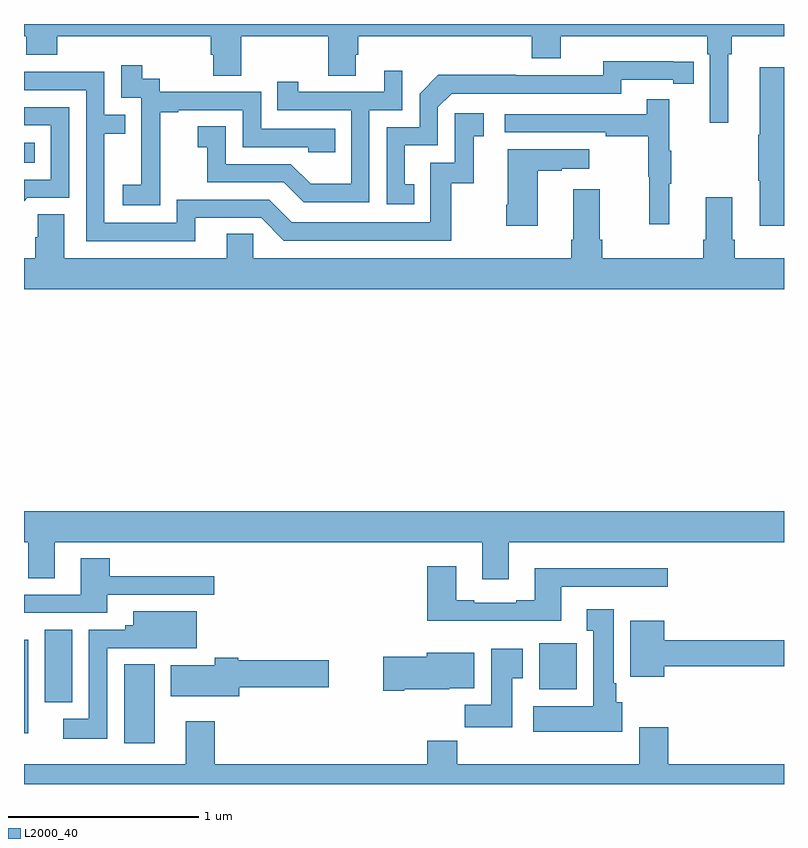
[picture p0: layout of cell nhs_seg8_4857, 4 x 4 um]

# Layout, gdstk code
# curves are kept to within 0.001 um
import gdstk
lib = gdstk.Library(unit=1e-6, precision=1e-09)
def R(c, l, rs):  # rectangles x0, y0, x1, y1
    for r in rs: c.add(gdstk.rectangle(r[:2], r[2:], *l))
def P(c, l, *ps):  # polygons
    for p in ps: c.add(gdstk.Polygon(p, *l))
L2000_40 = (2000, 40)

nhs_seg8_4857 = lib.new_cell('nhs_seg8_4857')
R(nhs_seg8_4857, L2000_40, [(405.527,1110.114,405.688,1110.529), (405,1110.168,405.022,1110.658), (405.11,1110.329,405.253,1110.712), (407.711,1110.398,407.908,1110.64), (405,1113.17,405.056,1113.274)])
P(nhs_seg8_4857, L2000_40, [(405,1113.836),(405.011,1113.836),(405.011,1113.737),(405.176,1113.737),(405.176,1113.836),(405.983,1113.836),(405.983,1113.738),(405.995,1113.738),(405.995,1113.628),(406.143,1113.628),(406.143,1113.836),(406.6,1113.836),(406.6,1113.628),(406.747,1113.628),(406.747,1113.738),(406.76,1113.738),(406.76,1113.836),(407.672,1113.836),(407.672,1113.719),(407.824,1113.719),(407.824,1113.836),(408.596,1113.836),(408.596,1113.74),(408.609,1113.74),(408.609,1113.381),(408.706,1113.381),(408.706,1113.74),(408.725,1113.74),(408.725,1113.836),(409,1113.836),(409,1113.9),(405,1113.9)],
  [(407.054,1113.057),(407.005,1113.057),(407.005,1113.261),(407.178,1113.261),(407.178,1113.462),(407.25,1113.534),(408.144,1113.534),(408.144,1113.606),(408.416,1113.606),(408.416,1113.586),(408.524,1113.586),(408.524,1113.702),(408.048,1113.703),(408.048,1113.63),(407.588,1113.63),(407.588,1113.632),(407.18,1113.632),(407.082,1113.534),(407.082,1113.357),(406.908,1113.357),(406.908,1112.952),(407.054,1112.952)],
  [(405.717,1113.151),(405.716,1113.151),(405.716,1113.435),(405.811,1113.435),(405.811,1113.447),(406.152,1113.447),(406.152,1113.252),(406.497,1113.252),(406.497,1113.225),(406.637,1113.225),(406.637,1113.348),(406.248,1113.348),(406.248,1113.543),(405.714,1113.543),(405.714,1113.612),(405.622,1113.612),(405.622,1113.682),(405.513,1113.682),(405.513,1113.513),(405.618,1113.513),(405.618,1113.284),(405.617,1113.284),(405.617,1113.055),(405.519,1113.055),(405.519,1112.945),(405.717,1112.945)],
  [(409,1113.673),(408.872,1113.673),(408.872,1113.317),(408.865,1113.317),(408.865,1113.076),(408.872,1113.076),(408.872,1112.838),(409,1112.838)],
  [(406.818,1113.447),(406.992,1113.447),(406.992,1113.655),(406.895,1113.655),(406.895,1113.543),(406.444,1113.543),(406.444,1113.595),(406.333,1113.595),(406.333,1113.447),(406.722,1113.447),(406.722,1113.058),(406.508,1113.058),(406.404,1113.162),(406.062,1113.162),(406.062,1113.361),(405.915,1113.361),(405.915,1113.251),(405.964,1113.251),(405.964,1113.066),(406.367,1113.066),(406.472,1112.961),(406.818,1112.961)],
  [(405.901,1112.88),(406.248,1112.88),(406.368,1112.76),(407.248,1112.76),(407.248,1113.063),(407.366,1113.063),(407.366,1113.309),(407.419,1113.309),(407.419,1113.43),(407.268,1113.43),(407.268,1113.171),(407.139,1113.171),(407.139,1112.856),(406.41,1112.856),(406.29,1112.976),(405.804,1112.976),(405.804,1112.853),(405.423,1112.853),(405.423,1113.322),(405.533,1113.322),(405.533,1113.423),(405.423,1113.423),(405.423,1113.648),(405,1113.648),(405,1113.552),(405.327,1113.552),(405.327,1112.757),(405.901,1112.757)],
  [(408.395,1113.059),(408.406,1113.059),(408.406,1113.233),(408.395,1113.233),(408.395,1113.505),(408.277,1113.505),(408.277,1113.426),(407.529,1113.426),(407.529,1113.33),(408.061,1113.33),(408.061,1113.31),(408.285,1113.31),(408.285,1113.096),(408.292,1113.096),(408.292,1112.847),(408.395,1112.847)],
  [(405.018,1112.985),(405.237,1112.985),(405.237,1113.462),(405,1113.462),(405,1113.366),(405.141,1113.366),(405.141,1113.081),(405,1113.081),(405,1112.967)],
  [(407.704,1113.127),(407.831,1113.127),(407.831,1113.137),(407.974,1113.137),(407.974,1113.241),(407.546,1113.241),(407.546,1112.95),(407.539,1112.95),(407.539,1112.838),(407.704,1112.838)],
  [(408.587,1112.989),(408.587,1112.764),(408.575,1112.764),(408.575,1112.668),(408.044,1112.668),(408.044,1112.764),(408.031,1112.764),(408.031,1113.031),(407.891,1113.031),(407.891,1112.764),(407.879,1112.764),(407.879,1112.668),(406.206,1112.668),(406.206,1112.795),(406.067,1112.795),(406.067,1112.668),(405.211,1112.668),(405.211,1112.9),(405.072,1112.9),(405.072,1112.777),(405.059,1112.777),(405.059,1112.668),(405,1112.668),(405,1112.504),(409,1112.504),(409,1112.668),(408.74,1112.668),(408.74,1112.764),(408.727,1112.764),(408.727,1112.989)],
  [(407.551,1111.172),(409,1111.172),(409,1111.336),(405,1111.336),(405,1111.172),(405.023,1111.172),(405.023,1110.982),(405.163,1110.982),(405.163,1111.172),(407.411,1111.172),(407.411,1110.978),(407.551,1110.978)],
  [(405.439,1110.897),(406,1110.897),(406,1110.994),(405.452,1110.994),(405.452,1111.087),(405.299,1111.087),(405.299,1110.897),(405,1110.897),(405,1110.801),(405.439,1110.801)],
  [(407.827,1110.939),(408.388,1110.939),(408.388,1111.036),(407.687,1111.036),(407.687,1110.868),(407.591,1110.868),(407.591,1110.855),(407.371,1110.855),(407.371,1110.868),(407.275,1110.868),(407.275,1111.045),(407.123,1111.045),(407.123,1110.758),(407.827,1110.758)],
  [(408.148,1110.33),(408.118,1110.33),(408.118,1110.43),(408.103,1110.43),(408.103,1110.82),(407.963,1110.82),(407.963,1110.707),(407.996,1110.707),(407.996,1110.31),(407.679,1110.31),(407.679,1110.176),(408.148,1110.176)],
  [(405.438,1110.615),(405.684,1110.615),(405.684,1110.614),(405.91,1110.614),(405.91,1110.808),(405.575,1110.808),(405.575,1110.736),(405.534,1110.736),(405.534,1110.711),(405.342,1110.711),(405.342,1110.244),(405.207,1110.244),(405.207,1110.137),(405.438,1110.137)],
  [(408.37,1110.52),(409,1110.52),(409,1110.656),(408.37,1110.656),(408.37,1110.76),(408.191,1110.76),(408.191,1110.464),(408.37,1110.464)],
  [(407.569,1110.457),(407.626,1110.457),(407.626,1110.613),(407.459,1110.613),(407.459,1110.316),(407.32,1110.316),(407.32,1110.198),(407.569,1110.198)],
  [(407.002,1110.398),(407.238,1110.398),(407.238,1110.404),(407.371,1110.404),(407.371,1110.592),(407.12,1110.592),(407.12,1110.569),(406.89,1110.569),(406.89,1110.391),(407.002,1110.391)],
  [(406.132,1110.409),(406.603,1110.409),(406.603,1110.551),(406.128,1110.551),(406.128,1110.564),(406.003,1110.564),(406.003,1110.526),(405.773,1110.526),(405.773,1110.362),(406.132,1110.362)],
  [(409,1110.004),(408.392,1110.004),(408.392,1110.199),(408.239,1110.199),(408.239,1110.004),(407.279,1110.004),(407.279,1110.128),(407.123,1110.128),(407.123,1110.004),(406.004,1110.004),(406.004,1110.229),(405.851,1110.229),(405.851,1110.004),(405,1110.004),(405,1109.9),(409,1109.9)])

lib.write_gds('nhs_seg8_4857.gds')
